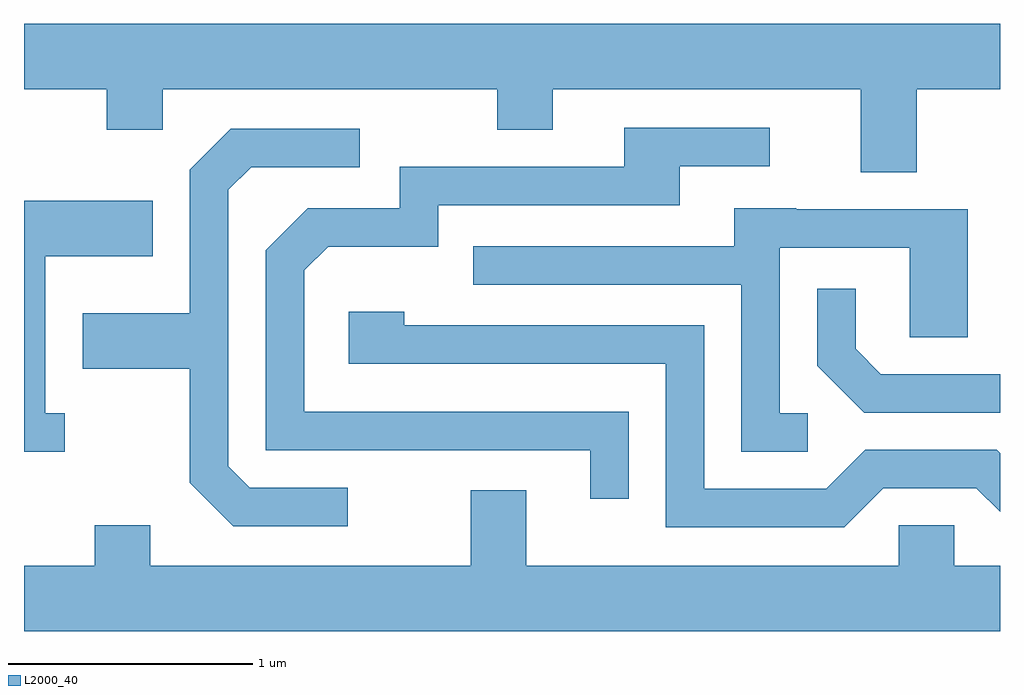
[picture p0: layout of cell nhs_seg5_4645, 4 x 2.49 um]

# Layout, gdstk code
import gdstk
lib = gdstk.Library(unit=1e-6, precision=1e-09)
def P(c, l, *ps):  # polygons
    for p in ps: c.add(gdstk.Polygon(p, *l))
L2000_40 = (2000, 40)

nhs_seg5_4645 = lib.new_cell('nhs_seg5_4645')
P(nhs_seg5_4645, L2000_40, [(327.269,1419.056),(327.611,1419.056),(327.611,1419.324),(323.611,1419.324),(323.611,1419.056),(323.951,1419.056),(323.951,1418.891),(324.179,1418.891),(324.179,1419.056),(325.551,1419.056),(325.551,1418.891),(325.779,1418.891),(325.779,1419.056),(327.041,1419.056),(327.041,1418.716),(327.269,1418.716)],
  [(326.089,1417.734),(324.759,1417.734),(324.759,1418.314),(324.857,1418.411),(325.309,1418.411),(325.309,1418.581),(326.299,1418.581),(326.299,1418.741),(326.668,1418.741),(326.668,1418.899),(326.071,1418.899),(326.071,1418.739),(325.151,1418.739),(325.151,1418.569),(324.774,1418.569),(324.601,1418.397),(324.601,1417.576),(325.931,1417.576),(325.931,1417.378),(326.089,1417.378)],
  [(324.938,1417.424),(324.537,1417.424),(324.449,1417.512),(324.449,1418.644),(324.542,1418.736),(324.988,1418.736),(324.988,1418.894),(324.459,1418.894),(324.291,1418.727),(324.291,1418.139),(323.851,1418.139),(323.851,1417.911),(324.291,1417.911),(324.291,1417.444),(324.469,1417.266),(324.938,1417.266)],
  [(323.778,1417.729),(323.699,1417.729),(323.699,1418.371),(324.139,1418.371),(324.139,1418.599),(323.611,1418.599),(323.611,1417.571),(323.778,1417.571)],
  [(326.823,1417.729),(326.709,1417.729),(326.709,1418.406),(327.241,1418.406),(327.241,1418.041),(327.479,1418.041),(327.479,1418.564),(326.775,1418.564),(326.775,1418.569),(326.521,1418.569),(326.521,1418.414),(325.453,1418.414),(325.453,1418.256),(326.551,1418.256),(326.551,1417.571),(326.823,1417.571)],
  [(327.611,1417.889),(327.122,1417.889),(327.019,1417.992),(327.019,1418.238),(326.861,1418.238),(326.861,1417.924),(327.054,1417.731),(327.611,1417.731)],
  [(327.132,1417.421),(327.514,1417.421),(327.611,1417.324),(327.611,1417.565),(327.597,1417.579),(327.059,1417.579),(326.899,1417.419),(326.399,1417.419),(326.399,1418.089),(325.169,1418.089),(325.169,1418.144),(324.941,1418.144),(324.941,1417.931),(326.241,1417.931),(326.241,1417.261),(326.972,1417.261)],
  [(327.611,1417.104),(327.424,1417.104),(327.424,1417.269),(327.196,1417.269),(327.196,1417.104),(325.669,1417.104),(325.669,1417.414),(325.441,1417.414),(325.441,1417.104),(324.129,1417.104),(324.129,1417.269),(323.901,1417.269),(323.901,1417.104),(323.611,1417.104),(323.611,1416.836),(327.611,1416.836)])

lib.write_gds('nhs_seg5_4645.gds')
